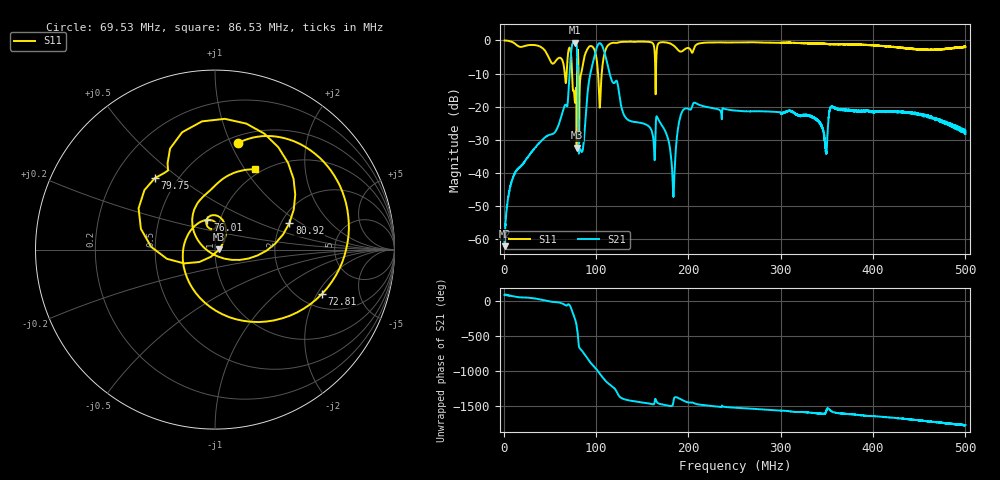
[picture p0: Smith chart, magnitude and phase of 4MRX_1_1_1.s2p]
! NanoVNA-App
! Date: 2026-08-19 14:17:42
! Start: 1MHz Stop: 500MHz Points: 6401
! S-Parameter data: F S11 S21 S12 S22
# Hz S RI R 50
!  Frequency  S11_Real  S11_Imag  S21_Real  S21_Imag  S12_Real  S12_Imag  S22_Real  S22_Imag
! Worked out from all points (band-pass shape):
!   6401 points, 1 MHz to 500 MHz, reference 50 ohm
!   highest |S21| = -0.66 dB at 76.86 MHz (marker M1); lowest = -62.3 dB at 1 MHz (marker M2)
!   |S21| within 3 dB of the highest: 72.98 MHz to 79.42 MHz (6.438 MHz wide, 8.45 % of centre); 99.26 MHz to 109.3 MHz (10 MHz wide, 9.6 % of centre)
!   lowest |S11| = -32.5 dB at 79.05 MHz (marker M3), VSWR 1.05, Z = 52.4 + j0.124 ohm
!   |S11| at or under -10 dB: 74.07 MHz to 79.4 MHz (5.331 MHz wide, 6.95 % of centre); 81.11 MHz to 83.85 MHz (2.748 MHz wide, 3.33 % of centre); 102.2 MHz to 106.2 MHz (3.995 MHz wide, 3.84 % of centre)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
!   S12 and S22 are empty: the file has one direction only
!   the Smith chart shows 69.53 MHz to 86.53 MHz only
!   S11 on the Smith chart (normalised r, x): 69.53 MHz: 0.57, +1.06; 72.81 MHz: 2.59, -2.20; 76.01 MHz: 0.87, +0.30; 79.75 MHz: 0.38, +0.41; 80.92 MHz: 2.21, +0.81; 86.53 MHz: 0.93, +1.11
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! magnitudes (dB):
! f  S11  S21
! 1 MHz  0.0  -62.3
! 11.37 MHz  -0.8  -40.6
! 69.53 MHz  -4.4  -18.3
! 72.81 MHz  -3.8  -4.2
! 76.01 MHz  -15.4  -0.7
! 76.86 MHz  -18.0  -0.7
! 79.05 MHz  -32.5  -1.4
! 79.75 MHz  -5.7  -8.5
! 80.92 MHz  -7.1  -28.4
! 84.19 MHz  -9.6  -33.6
! 86.53 MHz  -6.0  -31.3
! 96.82 MHz  -2.1  -6.4
! 103.8 MHz  -19.3  -0.8
! 112.3 MHz  -1.7  -7.1
! 132.5 MHz  -0.4  -23.5
! 167.4 MHz  -1.0  -23.9
! 183.5 MHz  -1.4  -46.1
! 195.1 MHz  -2.9  -20.8
! 250.5 MHz  -0.6  -21.2
! 333.7 MHz  -0.9  -23.2
! 416.9 MHz  -1.8  -21.7
! 500 MHz  -2.0  -28.3
